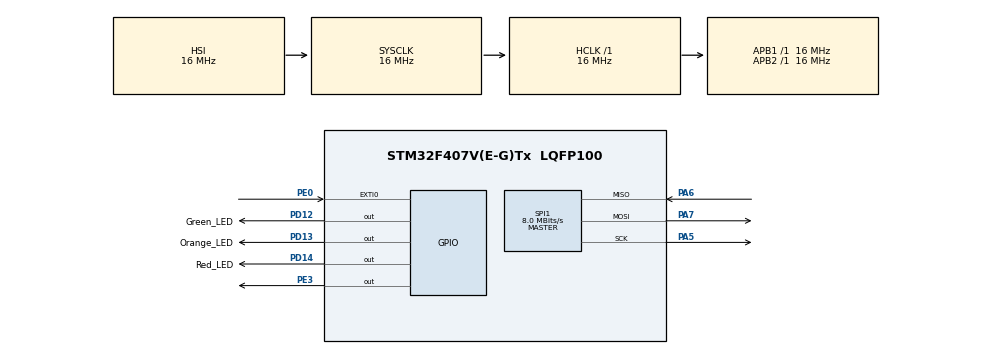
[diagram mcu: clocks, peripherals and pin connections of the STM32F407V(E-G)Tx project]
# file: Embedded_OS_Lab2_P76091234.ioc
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Mcu.Family=STM32F4
Mcu.Name=STM32F407V(E-G)Tx
Mcu.Package=LQFP100
NVIC.EXTI0_IRQn=true\:3\:0\:true\:false\:true\:true\:true
NVIC.PriorityGroup=NVIC_PRIORITYGROUP_4
NVIC.TIM6_DAC_IRQn=true\:0\:0\:false\:false\:true\:false\:true
NVIC.TimeBase=TIM6_DAC_IRQn
NVIC.TimeBaseIP=TIM6
PA13.Mode=Serial_Wire
PA13.Signal=SYS_JTMS-SWDIO
PA14.Mode=Serial_Wire
PA14.Signal=SYS_JTCK-SWCLK
PA5.Mode=Full_Duplex_Master
PA5.Signal=SPI1_SCK
PA6.Mode=Full_Duplex_Master
PA6.Signal=SPI1_MISO
PA7.Mode=Full_Duplex_Master
PA7.Signal=SPI1_MOSI
PD12.GPIO_Label=Green_LED
PD12.Signal=GPIO_Output
PD13.GPIO_Label=Orange_LED
PD13.Signal=GPIO_Output
PD14.GPIO_Label=Red_LED
PD14.Signal=GPIO_Output
PE0.Signal=GPXTI0
PE3.Signal=GPIO_Output
ProjectManager.HeapSize=0x200
ProjectManager.StackSize=0x400
ProjectManager.TargetToolchain=STM32CubeIDE
RCC.AHBFreq_Value=16000000
RCC.APB1Freq_Value=16000000
RCC.APB2Freq_Value=16000000
RCC.CortexFreq_Value=16000000
RCC.HSE_VALUE=25000000
RCC.HSI_VALUE=16000000
RCC.LSE_VALUE=32768
RCC.SYSCLKFreq_VALUE=16000000
RCC.VCOOutputFreq_Value=192000000
SPI1.CalculateBaudRate=8.0 MBits/s
SPI1.Direction=SPI_DIRECTION_2LINES
SPI1.Mode=SPI_MODE_MASTER
SPI1.VirtualType=VM_MASTER
VP_SYS_VS_tim6.Mode=TIM6
board=custom

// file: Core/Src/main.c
/* USER CODE BEGIN Header */
/**
  ******************************************************************************
  * @file           : main.c
  * @brief          : Main program body
  ******************************************************************************
  * @attention
  *
  * <h2><center>&copy; Copyright (c) 2021 STMicroelectronics.
  * All rights reserved.</center></h2>
  *
  * This software component is licensed by ST under BSD 3-Clause license,
  * the "License"; You may not use this file except in compliance with the
  * License. You may obtain a copy of the License at:
  *                        opensource.org/licenses/BSD-3-Clause
  *
  ******************************************************************************
  */
/* USER CODE END Header */
#include "main.h"

/* USER CODE BEGIN Includes */
#include "FreeRTOS.h"
#include "task.h"
#include "semphr.h"
/* USER CODE END Includes */

/* USER CODE BEGIN PM */
#define LIS3DSH_WHO_AM_I_ADDR                0x0F
#define LIS3DSH_STAT_ADDR                    0x18
#define LIS3DSH_CTRL_REG4_ADDR               0x20
#define LIS3DSH_CTRL_REG1_ADDR               0x21
#define LIS3DSH_CTRL_REG2_ADDR               0x22
#define LIS3DSH_CTRL_REG3_ADDR               0x23
#define LIS3DSH_CTRL_REG5_ADDR               0x24
#define LIS3DSH_CTRL_REG6_ADDR               0x25

#define LIS3DSH_STATUS_ADDR                  0x27

#define LIS3DSH_OUT_X_L_ADDR                 0x28
#define LIS3DSH_OUT_X_H_ADDR                 0x29
#define LIS3DSH_OUT_Y_L_ADDR                 0x2A
#define LIS3DSH_OUT_Y_H_ADDR                 0x2B
#define LIS3DSH_OUT_Z_L_ADDR                 0x2C
#define LIS3DSH_OUT_Z_H_ADDR                 0x2D

#define LIS3DSH_ST1_1_ADDR                   0x40
#define LIS3DSH_ST1_2_ADDR                   0x41
#define LIS3DSH_THRS1_1_ADDR                 0x57
#define LIS3DSH_MASK1_B_ADDR                 0x59
#define LIS3DSH_MASK1_A_ADDR                 0x5A
#define LIS3DSH_SETT1_ADDR                   0x5B
BaseType_t xHigherPriorityTaskWoken;
SemaphoreHandle_t xSemaphore;

/* USER CODE END PM */

SPI_HandleTypeDef hspi1;

void SystemClock_Config(void);
static void MX_GPIO_Init(void);
static void MX_SPI1_Init(void);
/* USER CODE BEGIN PFP */
void Task1(void);
void HandlerTask(void);
/* USER CODE END PFP */

/* USER CODE BEGIN 0 */
void MEMS_Write(uint8_t address,uint8_t data){
	HAL_GPIO_WritePin(GPIOE, GPIO_PIN_3, GPIO_PIN_RESET);
	HAL_SPI_Transmit(&hspi1,&address,1,10);
	HAL_SPI_Transmit(&hspi1,&data,1,10);
	HAL_GPIO_WritePin(GPIOE, GPIO_PIN_3,GPIO_PIN_SET);
}
void MEMS_Read(uint8_t address,uint8_t *data){
    address |= 0x80;
	HAL_GPIO_WritePin(GPIOE,GPIO_PIN_3,GPIO_PIN_RESET);
	HAL_SPI_Transmit(&hspi1,&address,1,10);
	HAL_SPI_Receive(&hspi1,data,1,10);
	HAL_GPIO_WritePin(GPIOE,GPIO_PIN_3,GPIO_PIN_SET);
}
/* USER CODE END 0 */

int main(void)
{
  /* USER CODE BEGIN 1 */
	xSemaphore = xSemaphoreCreateBinary();
  /* USER CODE END 1 */

  /* MCU Configuration--------------------------------------------------------*/

  /* Reset of all peripherals, Initializes the Flash interface and the Systick. */
  HAL_Init();

  /* Configure the system clock */
  SystemClock_Config();

  /* Initialize all configured peripherals */
  MX_GPIO_Init();
  MX_SPI1_Init();
  /* USER CODE BEGIN 2 */
  MEMS_Write(LIS3DSH_CTRL_REG1_ADDR,0x01);
  MEMS_Write(LIS3DSH_CTRL_REG3_ADDR,0x48);
  MEMS_Write(LIS3DSH_CTRL_REG4_ADDR,0x67);
  MEMS_Write(LIS3DSH_CTRL_REG5_ADDR,0x00);

  MEMS_Write(LIS3DSH_THRS1_1_ADDR,0x55);
  MEMS_Write(LIS3DSH_ST1_1_ADDR,0x05);
  MEMS_Write(LIS3DSH_ST1_2_ADDR,0x11);
  MEMS_Write(LIS3DSH_MASK1_B_ADDR,0xFC);
  MEMS_Write(LIS3DSH_MASK1_A_ADDR,0xFC);
  MEMS_Write(LIS3DSH_SETT1_ADDR,0x01);

  xTaskCreate(
			  Task1,
			  "Green_LED bilking",          /* Text name for the task. */
			  130,      /* Stack size in words, not bytes. */
			  NULL,    /* Parameter passed into the task. */
			  0,/* Priority at which the task is created. */
			  NULL
			  );
  xTaskCreate(
			  HandlerTask,       /* Function that implements the task. */
			  "Get semaphore to set orange_led",          /* Text name for the task. */
			  130,      /* Stack size in words, not bytes. */
			  NULL,    /* Parameter passed into the task. */
			  1,/* Priority at which the task is created. */
			  NULL
			  );
  // Start the real time scheduler.
  vTaskStartScheduler();
  /* USER CODE END 2 */

  /* Infinite loop */
  while (1)
  {

    /* USER CODE BEGIN 3 */
//	  MEMS_Read(LIS3DSH_WHO_AM_I_ADDR,&data);
//	  if(data == 0x3f){
//	  HAL_GPIO_TogglePin(GPIOD, GPIO_PIN_13);
//	  }
//	  HAL_Delay(1000);
  }
  /* USER CODE END 3 */
}

void SystemClock_Config(void)
{
  RCC_OscInitTypeDef RCC_OscInitStruct = {0};
  RCC_ClkInitTypeDef RCC_ClkInitStruct = {0};

  /** Configure the main internal regulator output voltage
  */
  __HAL_RCC_PWR_CLK_ENABLE();
  __HAL_PWR_VOLTAGESCALING_CONFIG(PWR_REGULATOR_VOLTAGE_SCALE1);
  /** Initializes the RCC Oscillators according to the specified parameters
  * in the RCC_OscInitTypeDef structure.
  */
  RCC_OscInitStruct.OscillatorType = RCC_OSCILLATORTYPE_HSI;
  RCC_OscInitStruct.HSIState = RCC_HSI_ON;
  RCC_OscInitStruct.HSICalibrationValue = RCC_HSICALIBRATION_DEFAULT;
  RCC_OscInitStruct.PLL.PLLState = RCC_PLL_NONE;
  if (HAL_RCC_OscConfig(&RCC_OscInitStruct) != HAL_OK)
  {
    Error_Handler();
  }
  /** Initializes the CPU, AHB and APB buses clocks
  */
  RCC_ClkInitStruct.ClockType = RCC_CLOCKTYPE_HCLK|RCC_CLOCKTYPE_SYSCLK
                              |RCC_CLOCKTYPE_PCLK1|RCC_CLOCKTYPE_PCLK2;
  RCC_ClkInitStruct.SYSCLKSource = RCC_SYSCLKSOURCE_HSI;
  RCC_ClkInitStruct.AHBCLKDivider = RCC_SYSCLK_DIV1;
  RCC_ClkInitStruct.APB1CLKDivider = RCC_HCLK_DIV1;
  RCC_ClkInitStruct.APB2CLKDivider = RCC_HCLK_DIV1;

  if (HAL_RCC_ClockConfig(&RCC_ClkInitStruct, FLASH_LATENCY_0) != HAL_OK)
  {
    Error_Handler();
  }
}

static void MX_SPI1_Init(void)
{

  /* SPI1 parameter configuration*/
  hspi1.Instance = SPI1;
  hspi1.Init.Mode = SPI_MODE_MASTER;
  hspi1.Init.Direction = SPI_DIRECTION_2LINES;
  hspi1.Init.DataSize = SPI_DATASIZE_8BIT;
  hspi1.Init.CLKPolarity = SPI_POLARITY_LOW;
  hspi1.Init.CLKPhase = SPI_PHASE_1EDGE;
  hspi1.Init.NSS = SPI_NSS_SOFT;
  hspi1.Init.BaudRatePrescaler = SPI_BAUDRATEPRESCALER_2;
  hspi1.Init.FirstBit = SPI_FIRSTBIT_MSB;
  hspi1.Init.TIMode = SPI_TIMODE_DISABLE;
  hspi1.Init.CRCCalculation = SPI_CRCCALCULATION_DISABLE;
  hspi1.Init.CRCPolynomial = 10;
  if (HAL_SPI_Init(&hspi1) != HAL_OK)
  {
    Error_Handler();
  }

}

static void MX_GPIO_Init(void)
{
  GPIO_InitTypeDef GPIO_InitStruct = {0};

  /* GPIO Ports Clock Enable */
  __HAL_RCC_GPIOE_CLK_ENABLE();
  __HAL_RCC_GPIOA_CLK_ENABLE();
  __HAL_RCC_GPIOD_CLK_ENABLE();

  /*Configure GPIO pin Output Level */
  HAL_GPIO_WritePin(GPIOE, GPIO_PIN_3, GPIO_PIN_RESET);

  /*Configure GPIO pin Output Level */
  HAL_GPIO_WritePin(GPIOD, Green_LED_Pin|Orange_LED_Pin|Red_LED_Pin, GPIO_PIN_RESET);

  /*Configure GPIO pin : PE3 */
  GPIO_InitStruct.Pin = GPIO_PIN_3;
  GPIO_InitStruct.Mode = GPIO_MODE_OUTPUT_PP;
  GPIO_InitStruct.Pull = GPIO_NOPULL;
  GPIO_InitStruct.Speed = GPIO_SPEED_FREQ_LOW;
  HAL_GPIO_Init(GPIOE, &GPIO_InitStruct);

  /*Configure GPIO pins : Green_LED_Pin Orange_LED_Pin Red_LED_Pin */
  GPIO_InitStruct.Pin = Green_LED_Pin|Orange_LED_Pin|Red_LED_Pin;
  GPIO_InitStruct.Mode = GPIO_MODE_OUTPUT_PP;
  GPIO_InitStruct.Pull = GPIO_NOPULL;
  GPIO_InitStruct.Speed = GPIO_SPEED_FREQ_LOW;
  HAL_GPIO_Init(GPIOD, &GPIO_InitStruct);

  /*Configure GPIO pin : PE0 */
  GPIO_InitStruct.Pin = GPIO_PIN_0;
  GPIO_InitStruct.Mode = GPIO_MODE_IT_RISING;
  GPIO_InitStruct.Pull = GPIO_NOPULL;
  HAL_GPIO_Init(GPIOE, &GPIO_InitStruct);

  /* EXTI interrupt init*/
  HAL_NVIC_SetPriority(EXTI0_IRQn, 3, 0);
  HAL_NVIC_EnableIRQ(EXTI0_IRQn);

}

/* USER CODE BEGIN 4 */
void Task1(){
	//uint8_t TxData[5] = "Task1";
	while(1){
		//HAL_UART_Transmit(&huart2,TxData,5,100);
		HAL_GPIO_TogglePin(GPIOD, GPIO_PIN_12);
		vTaskDelay(500);
	}
}

void HandlerTask(){
	int count;
	uint8_t c = 0;
	while(1){
		if(xSemaphoreTake(xSemaphore,portMAX_DELAY) == pdTRUE){
			for(count = 0;count<10; count++){
				HAL_GPIO_TogglePin(GPIOD, GPIO_PIN_13);
				vTaskDelay(500);
				//HAL_Delay(500);
				/* vTaskDelay -> Blocking
				 * HAL_Delay -> busy waiting
				 */
			}
			HAL_GPIO_WritePin(GPIOD, GPIO_PIN_13, RESET);
			MEMS_Read(0x5F,&c);
		}

	}
}

void HAL_GPIO_EXTI_Callback(uint16_t GPIO_Pin){
    xHigherPriorityTaskWoken = pdFALSE;
	HAL_GPIO_TogglePin(GPIOD, GPIO_PIN_14);
	xSemaphoreGiveFromISR(xSemaphore,&xHigherPriorityTaskWoken);
}
/* USER CODE END 4 */

 /**
  * @brief  Period elapsed callback in non blocking mode
  * @note   This function is called  when TIM6 interrupt took place, inside
  * HAL_TIM_IRQHandler(). It makes a direct call to HAL_IncTick() to increment
  * a global variable "uwTick" used as application time base.
  * @param  htim : TIM handle
  * @retval None
  */
void HAL_TIM_PeriodElapsedCallback(TIM_HandleTypeDef *htim)
{
  if (htim->Instance == TIM6) {
    HAL_IncTick();
  }
}

void Error_Handler(void)
{
  __disable_irq();
  while (1)
  {
  }
}

/************************ (C) COPYRIGHT STMicroelectronics *****END OF FILE****/
